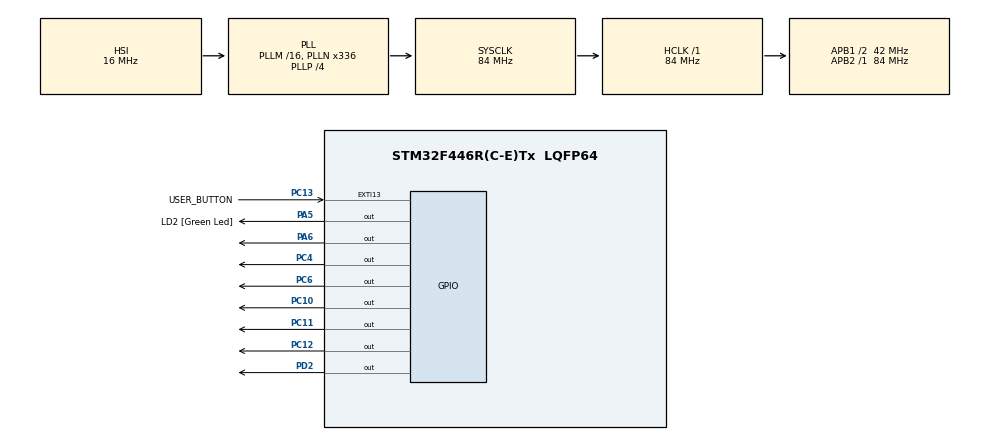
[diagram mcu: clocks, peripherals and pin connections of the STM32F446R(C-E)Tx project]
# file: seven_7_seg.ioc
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Mcu.Family=STM32F4
Mcu.Name=STM32F446R(C-E)Tx
Mcu.Package=LQFP64
NVIC.PriorityGroup=NVIC_PRIORITYGROUP_0
PA13.GPIO_Label=TMS
PA13.Mode=Serial_Wire
PA13.Signal=SYS_JTMS-SWDIO
PA14.GPIO_Label=TCK
PA14.Mode=Serial_Wire
PA14.Signal=SYS_JTCK-SWCLK
PA5.GPIO_Label=LD2 [Green Led]
PA5.Signal=GPIO_Output
PA6.Signal=GPIO_Output
PB3.GPIO_Label=SWO
PB3.Signal=SYS_JTDO-SWO
PC10.Signal=GPIO_Output
PC11.Signal=GPIO_Output
PC12.Signal=GPIO_Output
PC13.GPIO_Label=USER_BUTTON
PC13.GPIO_ModeDefaultEXTI=GPIO_MODE_IT_FALLING
PC13.Signal=GPXTI13
PC14-OSC32_IN.Mode=LSE-External-Oscillator
PC14-OSC32_IN.Signal=RCC_OSC32_IN
PC15-OSC32_OUT.Mode=LSE-External-Oscillator
PC15-OSC32_OUT.Signal=RCC_OSC32_OUT
PC4.Signal=GPIO_Output
PC6.Signal=GPIO_Output
PD2.Signal=GPIO_Output
PH0-OSC_IN.Mode=HSE-External-Oscillator
PH0-OSC_IN.Signal=RCC_OSC_IN
PH1-OSC_OUT.Mode=HSE-External-Oscillator
PH1-OSC_OUT.Signal=RCC_OSC_OUT
ProjectManager.HeapSize=0x200
ProjectManager.StackSize=0x400
ProjectManager.TargetToolchain=STM32CubeIDE
RCC.48MHZClocksFreq_Value=84000000
RCC.AHBFreq_Value=84000000
RCC.APB1CLKDivider=RCC_HCLK_DIV2
RCC.APB1Freq_Value=42000000
RCC.APB1TimFreq_Value=84000000
RCC.APB2Freq_Value=84000000
RCC.APB2TimFreq_Value=84000000
RCC.CortexFreq_Value=84000000
RCC.FLatency-AdvancedSettings=FLASH_LATENCY_2
RCC.HCLKFreq_Value=84000000
RCC.HSE_VALUE=8000000
RCC.HSI_VALUE=16000000
RCC.PLLN=336
RCC.PLLP=RCC_PLLP_DIV4
RCC.SYSCLKFreq_VALUE=84000000
RCC.SYSCLKSource=RCC_SYSCLKSOURCE_PLLCLK
RCC.USBFreq_Value=168000000
RCC.VCOOutputFreq_Value=336000000
board=NUCLEO-F446RE

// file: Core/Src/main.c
/* USER CODE BEGIN Header */
/**
  ******************************************************************************
  * @file           : main.c
  * @brief          : Main program body
  ******************************************************************************
  * @attention
  *
  * Copyright (c) 2022 STMicroelectronics.
  * All rights reserved.
  *
  * This software is licensed under terms that can be found in the LICENSE file
  * in the root directory of this software component.
  * If no LICENSE file comes with this software, it is provided AS-IS.
  *
  ******************************************************************************
  */
/* USER CODE END Header */
#include "main.h"

/* USER CODE BEGIN Includes */
uint8_t buttonState = 0;
uint8_t number = 0;
/* USER CODE END PV */

/* Private function prototypes -----------------------------------------------*/
void SystemClock_Config(void);
static void MX_GPIO_Init(void);
/* USER CODE BEGIN PFP */

/* USER CODE END PFP */

/* Private user code ---------------------------------------------------------*/
/* USER CODE BEGIN 0 */
/* =========================================================================
If
	the USER BUTTON is pressed then number on 7-segment will increment by 1
else
	Number on the 7-segment will decrement by 1
=============================================================================
*/
// Implement button functionality
void HAL_GPIO_EXTI_Falling_Callback(uint16_t GPIO_Pin)
{
  /* Prevent unused argument(s) compilation warning */
  UNUSED(GPIO_Pin);
  /* NOTE: This function should not be modified, when the callback is needed,
           the HAL_GPIO_EXTI_Falling_Callback could be implemented in the user file
   */
  if (GPIO_Pin == USER_BUTTON_Pin) {
	buttonState = 1;
  }
}

void SevenSegment_Update(uint8_t number){
//	HAL_GPIO_WritePin(GPIOD, GPIO_PIN_2, ((number>>0)&0x01)); // a
//	HAL_GPIO_WritePin(GPIOC, GPIO_PIN_11, ((number>>1)&0x01)); // b
//	HAL_GPIO_WritePin(GPIOA, GPIO_PIN_6, ((number>>2)&0x01)); // c
//	HAL_GPIO_WritePin(GPIOC, GPIO_PIN_6, ((number>>3)&0x01)); // d
//	HAL_GPIO_WritePin(GPIOC, GPIO_PIN_10, ((number>>5)&0x01)); // e
//	HAL_GPIO_WritePin(GPIOC, GPIO_PIN_4, ((number>>4)&0x01)); // f
//	HAL_GPIO_WritePin(GPIOC, GPIO_PIN_12, ((number>>6)&0x01)); // g

	HAL_GPIO_WritePin(GPIOD, GPIO_PIN_2, ((number>>3)&0x01)); // a
	HAL_GPIO_WritePin(GPIOC, GPIO_PIN_11, ((number>>4)&0x01)); // b
	HAL_GPIO_WritePin(GPIOA, GPIO_PIN_6, ((number>>5)&0x01)); // c
	HAL_GPIO_WritePin(GPIOC, GPIO_PIN_6, ((number>>0)&0x01)); // d
	HAL_GPIO_WritePin(GPIOC, GPIO_PIN_10, ((number>>2)&0x01)); // e
	HAL_GPIO_WritePin(GPIOC, GPIO_PIN_4, ((number>>1)&0x01)); // f
	HAL_GPIO_WritePin(GPIOC, GPIO_PIN_12, ((number>>6)&0x01)); // g
}
/* USER CODE END Includes */

/* USER CODE BEGIN PV */
uint8_t segmentNumber[16] = {
						0x3f,  // 0
						0x06,  // 1
						0x5b,  // 2
						0x4f,  // 3
						0x66,  // 4
						0x6d,  // 5
						0x7d,  // 6
						0x07,  // 7
						0x7f,  // 8
						0x6f,  // 9
						0x77,  // A
						0x7c,  // B
						0x39,  // C
						0x5e,  // D
						0x79,  // E
						0x71   // F
						};
/* USER CODE END PV */

void SystemClock_Config(void);
static void MX_GPIO_Init(void);

int main(void)
{

  /* MCU Configuration--------------------------------------------------------*/

  /* Reset of all peripherals, Initializes the Flash interface and the Systick. */
  HAL_Init();

  /* Configure the system clock */
  SystemClock_Config();

  /* Initialize all configured peripherals */
  MX_GPIO_Init();

  /* Infinite loop */
  while (1)
  {

    /* USER CODE BEGIN 3 */
  	  if ( buttonState == 1) {
  		  if (number == 15) {
  			number = 0;
  		} else {
  			number++;
  		}
  		buttonState = 0;
  	} else if (number == 0) {
  		number = 15;
  	} else {
  		number--;
  	}

  	  SevenSegment_Update(segmentNumber[number]);
  	  HAL_Delay(300);
    }
  /* USER CODE END 3 */
}

void SystemClock_Config(void)
{
  RCC_OscInitTypeDef RCC_OscInitStruct = {0};
  RCC_ClkInitTypeDef RCC_ClkInitStruct = {0};

  /** Configure the main internal regulator output voltage
  */
  __HAL_RCC_PWR_CLK_ENABLE();
  __HAL_PWR_VOLTAGESCALING_CONFIG(PWR_REGULATOR_VOLTAGE_SCALE3);

  /** Initializes the RCC Oscillators according to the specified parameters
  * in the RCC_OscInitTypeDef structure.
  */
  RCC_OscInitStruct.OscillatorType = RCC_OSCILLATORTYPE_HSI;
  RCC_OscInitStruct.HSIState = RCC_HSI_ON;
  RCC_OscInitStruct.HSICalibrationValue = RCC_HSICALIBRATION_DEFAULT;
  RCC_OscInitStruct.PLL.PLLState = RCC_PLL_ON;
  RCC_OscInitStruct.PLL.PLLSource = RCC_PLLSOURCE_HSI;
  RCC_OscInitStruct.PLL.PLLM = 16;
  RCC_OscInitStruct.PLL.PLLN = 336;
  RCC_OscInitStruct.PLL.PLLP = RCC_PLLP_DIV4;
  RCC_OscInitStruct.PLL.PLLQ = 2;
  RCC_OscInitStruct.PLL.PLLR = 2;
  if (HAL_RCC_OscConfig(&RCC_OscInitStruct) != HAL_OK)
  {
    Error_Handler();
  }

  /** Initializes the CPU, AHB and APB buses clocks
  */
  RCC_ClkInitStruct.ClockType = RCC_CLOCKTYPE_HCLK|RCC_CLOCKTYPE_SYSCLK
                              |RCC_CLOCKTYPE_PCLK1|RCC_CLOCKTYPE_PCLK2;
  RCC_ClkInitStruct.SYSCLKSource = RCC_SYSCLKSOURCE_PLLCLK;
  RCC_ClkInitStruct.AHBCLKDivider = RCC_SYSCLK_DIV1;
  RCC_ClkInitStruct.APB1CLKDivider = RCC_HCLK_DIV2;
  RCC_ClkInitStruct.APB2CLKDivider = RCC_HCLK_DIV1;

  if (HAL_RCC_ClockConfig(&RCC_ClkInitStruct, FLASH_LATENCY_2) != HAL_OK)
  {
    Error_Handler();
  }
}

static void MX_GPIO_Init(void)
{
  GPIO_InitTypeDef GPIO_InitStruct = {0};

  /* GPIO Ports Clock Enable */
  __HAL_RCC_GPIOC_CLK_ENABLE();
  __HAL_RCC_GPIOH_CLK_ENABLE();
  __HAL_RCC_GPIOA_CLK_ENABLE();
  __HAL_RCC_GPIOD_CLK_ENABLE();
  __HAL_RCC_GPIOB_CLK_ENABLE();

  /*Configure GPIO pin Output Level */
  HAL_GPIO_WritePin(GPIOA, LD2_Pin|GPIO_PIN_6, GPIO_PIN_RESET);

  /*Configure GPIO pin Output Level */
  HAL_GPIO_WritePin(GPIOC, GPIO_PIN_4|GPIO_PIN_6|GPIO_PIN_10|GPIO_PIN_11
                          |GPIO_PIN_12, GPIO_PIN_RESET);

  /*Configure GPIO pin Output Level */
  HAL_GPIO_WritePin(GPIOD, GPIO_PIN_2, GPIO_PIN_RESET);

  /*Configure GPIO pin : USER_BUTTON_Pin */
  GPIO_InitStruct.Pin = USER_BUTTON_Pin;
  GPIO_InitStruct.Mode = GPIO_MODE_IT_FALLING;
  GPIO_InitStruct.Pull = GPIO_NOPULL;
  HAL_GPIO_Init(USER_BUTTON_GPIO_Port, &GPIO_InitStruct);

  /*Configure GPIO pins : LD2_Pin PA6 */
  GPIO_InitStruct.Pin = LD2_Pin|GPIO_PIN_6;
  GPIO_InitStruct.Mode = GPIO_MODE_OUTPUT_PP;
  GPIO_InitStruct.Pull = GPIO_NOPULL;
  GPIO_InitStruct.Speed = GPIO_SPEED_FREQ_LOW;
  HAL_GPIO_Init(GPIOA, &GPIO_InitStruct);

  /*Configure GPIO pins : PC4 PC6 PC10 PC11
                           PC12 */
  GPIO_InitStruct.Pin = GPIO_PIN_4|GPIO_PIN_6|GPIO_PIN_10|GPIO_PIN_11
                          |GPIO_PIN_12;
  GPIO_InitStruct.Mode = GPIO_MODE_OUTPUT_PP;
  GPIO_InitStruct.Pull = GPIO_NOPULL;
  GPIO_InitStruct.Speed = GPIO_SPEED_FREQ_LOW;
  HAL_GPIO_Init(GPIOC, &GPIO_InitStruct);

  /*Configure GPIO pin : PD2 */
  GPIO_InitStruct.Pin = GPIO_PIN_2;
  GPIO_InitStruct.Mode = GPIO_MODE_OUTPUT_PP;
  GPIO_InitStruct.Pull = GPIO_NOPULL;
  GPIO_InitStruct.Speed = GPIO_SPEED_FREQ_LOW;
  HAL_GPIO_Init(GPIOD, &GPIO_InitStruct);

}

void Error_Handler(void)
{
  __disable_irq();
  while (1)
  {
  }
}
